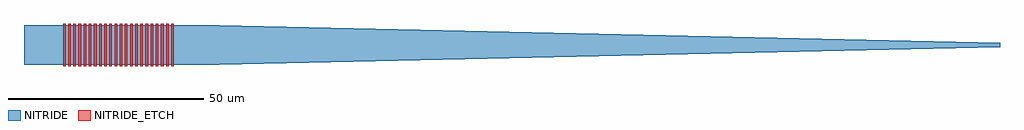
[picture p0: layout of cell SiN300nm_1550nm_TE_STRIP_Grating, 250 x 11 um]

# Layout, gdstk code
import gdstk
lib = gdstk.Library(unit=1e-6, precision=1e-09)
def R(c, l, rs):  # rectangles x0, y0, x1, y1
    for r in rs: c.add(gdstk.rectangle(r[:2], r[2:], *l))
def A(c, l, x, y, w, h, nx, ny, dx, dy):  # array of equal rectangles
    R(c, l, [(x+i*dx, y+j*dy, x+i*dx+w, y+j*dy+h) for i in range(nx) for j in range(ny)])
def P(c, l, *ps):  # polygons
    for p in ps: c.add(gdstk.Polygon(p, *l))
NITRIDE = (203, 0)
NITRIDE_ETCH = (204, 0)

sin300nm_1550nm_te_strip = lib.new_cell('SiN300nm_1550nm_TE_STRIP_Grating')
R(sin300nm_1550nm_te_strip, NITRIDE, [(0,-5,50,5)])
P(sin300nm_1550nm_te_strip, NITRIDE, [(50,-5),(50,5),(250,0.6),(250,-0.6)])
A(sin300nm_1550nm_te_strip, NITRIDE_ETCH, 10, -5.5, 0.66, 11, 22, 1, 1.32, 0)

lib.write_gds('SiN300nm_1550nm_TE_STRIP_Grating.gds')
